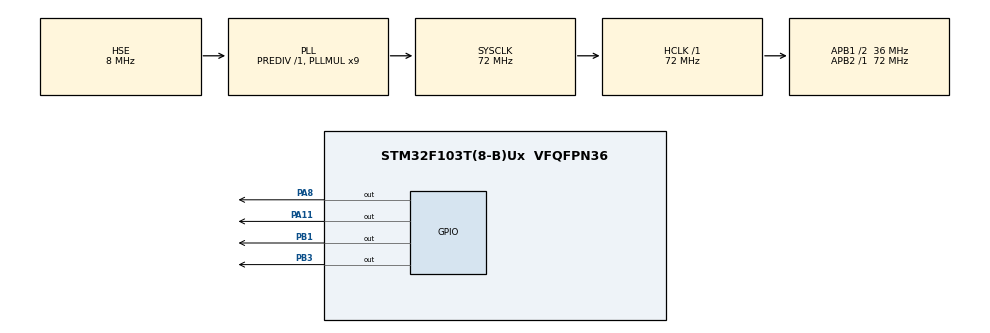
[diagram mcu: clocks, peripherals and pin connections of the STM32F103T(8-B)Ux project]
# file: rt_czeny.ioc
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FREERTOS.Tasks01=defaultTask,0,128,StartDefaultTask,Default
Mcu.Family=STM32F1
Mcu.Name=STM32F103T(8-B)Ux
Mcu.Package=VFQFPN36
NVIC.PriorityGroup=NVIC_PRIORITYGROUP_4
PA11.Signal=GPIO_Output
PA8.Signal=GPIO_Output
PB1.Signal=GPIO_Output
PB3.Signal=GPIO_Output
PD0-OSC_IN.Mode=HSE-External-Clock-Source
PD0-OSC_IN.Signal=RCC_OSC_IN
PD1-OSC_OUT.Mode=HSE-External-Clock-Source
PD1-OSC_OUT.Signal=RCC_OSC_OUT
ProjectManager.HeapSize=0x400
ProjectManager.StackSize=0x200
ProjectManager.TargetToolchain=MDK-ARM V5
RCC.AHBFreq_Value=72000000
RCC.APB1CLKDivider=RCC_HCLK_DIV2
RCC.APB1Freq_Value=36000000
RCC.APB1TimFreq_Value=72000000
RCC.APB2Freq_Value=72000000
RCC.APB2TimFreq_Value=72000000
RCC.HCLKFreq_Value=72000000
RCC.HSIState=RCC_HSI_ON
RCC.PLLMUL=RCC_PLL_MUL9
RCC.PLLSourceVirtual=RCC_PLLSOURCE_HSE
RCC.SYSCLKFreq_VALUE=72000000
RCC.SYSCLKSource=RCC_SYSCLKSOURCE_PLLCLK
RCC.USBFreq_Value=72000000
VP_FREERTOS_VS_ENABLE.Mode=Enabled
VP_SYS_VS_ND.Mode=No_Debug
board=rt_czeny

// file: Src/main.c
/**
  ******************************************************************************
  * File Name          : main.c
  * Description        : Main program body
  ******************************************************************************
  *
  * COPYRIGHT(c) 2016 STMicroelectronics
  *
  * Redistribution and use in source and binary forms, with or without modification,
  * are permitted provided that the following conditions are met:
  *   1. Redistributions of source code must retain the above copyright notice,
  *      this list of conditions and the following disclaimer.
  *   2. Redistributions in binary form must reproduce the above copyright notice,
  *      this list of conditions and the following disclaimer in the documentation
  *      and/or other materials provided with the distribution.
  *   3. Neither the name of STMicroelectronics nor the names of its contributors
  *      may be used to endorse or promote products derived from this software
  *      without specific prior written permission.
  *
  * THIS SOFTWARE IS PROVIDED BY THE COPYRIGHT HOLDERS AND CONTRIBUTORS "AS IS"
  * AND ANY EXPRESS OR IMPLIED WARRANTIES, INCLUDING, BUT NOT LIMITED TO, THE
  * IMPLIED WARRANTIES OF MERCHANTABILITY AND FITNESS FOR A PARTICULAR PURPOSE ARE
  * DISCLAIMED. IN NO EVENT SHALL THE COPYRIGHT HOLDER OR CONTRIBUTORS BE LIABLE
  * FOR ANY DIRECT, INDIRECT, INCIDENTAL, SPECIAL, EXEMPLARY, OR CONSEQUENTIAL
  * DAMAGES (INCLUDING, BUT NOT LIMITED TO, PROCUREMENT OF SUBSTITUTE GOODS OR
  * SERVICES; LOSS OF USE, DATA, OR PROFITS; OR BUSINESS INTERRUPTION) HOWEVER
  * CAUSED AND ON ANY THEORY OF LIABILITY, WHETHER IN CONTRACT, STRICT LIABILITY,
  * OR TORT (INCLUDING NEGLIGENCE OR OTHERWISE) ARISING IN ANY WAY OUT OF THE USE
  * OF THIS SOFTWARE, EVEN IF ADVISED OF THE POSSIBILITY OF SUCH DAMAGE.
  *
  ******************************************************************************
  */
#include "stm32f1xx_hal.h"
#include "cmsis_os.h"
#include "gpio.h"

/* USER CODE BEGIN PV */
/* Private variables ---------------------------------------------------------*/

/* USER CODE END PV */

void SystemClock_Config(void);
void MX_FREERTOS_Init(void);

/* USER CODE BEGIN PFP */
/* Private function prototypes -----------------------------------------------*/

/* USER CODE END PFP */

int main(void)
{

  /* MCU Configuration----------------------------------------------------------*/

  /* Reset of all peripherals, Initializes the Flash interface and the Systick. */
  HAL_Init();

  /* Configure the system clock */
  SystemClock_Config();

  /* Initialize all configured peripherals */
  MX_GPIO_Init();

  /* Call init function for freertos objects (in freertos.c) */
  MX_FREERTOS_Init();

  /* Start scheduler */
  osKernelStart();

  /* We should never get here as control is now taken by the scheduler */

  /* Infinite loop */
  while (1)
  {

  }

}

/** System Clock Configuration
*/
void SystemClock_Config(void)
{

  RCC_OscInitTypeDef RCC_OscInitStruct;
  RCC_ClkInitTypeDef RCC_ClkInitStruct;

  RCC_OscInitStruct.OscillatorType = RCC_OSCILLATORTYPE_HSE;
  RCC_OscInitStruct.HSEState = RCC_HSE_BYPASS;
  RCC_OscInitStruct.HSEPredivValue = RCC_HSE_PREDIV_DIV1;
  RCC_OscInitStruct.PLL.PLLState = RCC_PLL_ON;
  RCC_OscInitStruct.PLL.PLLSource = RCC_PLLSOURCE_HSE;
  RCC_OscInitStruct.PLL.PLLMUL = RCC_PLL_MUL9;
  HAL_RCC_OscConfig(&RCC_OscInitStruct);

  RCC_ClkInitStruct.ClockType = RCC_CLOCKTYPE_HCLK|RCC_CLOCKTYPE_SYSCLK
                              |RCC_CLOCKTYPE_PCLK1|RCC_CLOCKTYPE_PCLK2;
  RCC_ClkInitStruct.SYSCLKSource = RCC_SYSCLKSOURCE_PLLCLK;
  RCC_ClkInitStruct.AHBCLKDivider = RCC_SYSCLK_DIV1;
  RCC_ClkInitStruct.APB1CLKDivider = RCC_HCLK_DIV2;
  RCC_ClkInitStruct.APB2CLKDivider = RCC_HCLK_DIV1;
  HAL_RCC_ClockConfig(&RCC_ClkInitStruct, FLASH_LATENCY_2);

  HAL_SYSTICK_Config(HAL_RCC_GetHCLKFreq()/1000);

  HAL_SYSTICK_CLKSourceConfig(SYSTICK_CLKSOURCE_HCLK);

  /* SysTick_IRQn interrupt configuration */
  HAL_NVIC_SetPriority(SysTick_IRQn, 15, 0);
}

/************************ (C) COPYRIGHT STMicroelectronics *****END OF FILE****/

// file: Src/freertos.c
/**
  ******************************************************************************
  * File Name          : freertos.c
  * Description        : Code for freertos applications
  ******************************************************************************
  *
  * COPYRIGHT(c) 2016 STMicroelectronics
  *
  * Redistribution and use in source and binary forms, with or without modification,
  * are permitted provided that the following conditions are met:
  *   1. Redistributions of source code must retain the above copyright notice,
  *      this list of conditions and the following disclaimer.
  *   2. Redistributions in binary form must reproduce the above copyright notice,
  *      this list of conditions and the following disclaimer in the documentation
  *      and/or other materials provided with the distribution.
  *   3. Neither the name of STMicroelectronics nor the names of its contributors
  *      may be used to endorse or promote products derived from this software
  *      without specific prior written permission.
  *
  * THIS SOFTWARE IS PROVIDED BY THE COPYRIGHT HOLDERS AND CONTRIBUTORS "AS IS"
  * AND ANY EXPRESS OR IMPLIED WARRANTIES, INCLUDING, BUT NOT LIMITED TO, THE
  * IMPLIED WARRANTIES OF MERCHANTABILITY AND FITNESS FOR A PARTICULAR PURPOSE ARE
  * DISCLAIMED. IN NO EVENT SHALL THE COPYRIGHT HOLDER OR CONTRIBUTORS BE LIABLE
  * FOR ANY DIRECT, INDIRECT, INCIDENTAL, SPECIAL, EXEMPLARY, OR CONSEQUENTIAL
  * DAMAGES (INCLUDING, BUT NOT LIMITED TO, PROCUREMENT OF SUBSTITUTE GOODS OR
  * SERVICES; LOSS OF USE, DATA, OR PROFITS; OR BUSINESS INTERRUPTION) HOWEVER
  * CAUSED AND ON ANY THEORY OF LIABILITY, WHETHER IN CONTRACT, STRICT LIABILITY,
  * OR TORT (INCLUDING NEGLIGENCE OR OTHERWISE) ARISING IN ANY WAY OUT OF THE USE
  * OF THIS SOFTWARE, EVEN IF ADVISED OF THE POSSIBILITY OF SUCH DAMAGE.
  *
  ******************************************************************************
  */

#include "FreeRTOS.h"
#include "task.h"
#include "cmsis_os.h"

/* USER CODE BEGIN Includes */
#include "gpio.h"
/* USER CODE END Includes */

osThreadId defaultTaskHandle;

/* USER CODE BEGIN Variables */
osThreadId led1TaskHandle1;
osThreadId led1TaskHandle2;
osThreadId led1TaskHandle3;
osThreadId led1TaskHandle4;
/* USER CODE END Variables */

void StartDefaultTask(void const * argument);

void MX_FREERTOS_Init(void); /* (MISRA C 2004 rule 8.1) */

/* USER CODE BEGIN FunctionPrototypes */
void blinkLED1(void const * argument);
void blinkLED2(void const * argument);
void blinkLED3(void const * argument);
void blinkLED4(void const * argument);
/* USER CODE END FunctionPrototypes */

/* Hook prototypes */

/* Init FreeRTOS */

void MX_FREERTOS_Init(void) {

  /* Create the thread(s) */
  /* definition and creation of defaultTask */
  osThreadDef(defaultTask, StartDefaultTask, osPriorityNormal, 0, 128);
  defaultTaskHandle = osThreadCreate(osThread(defaultTask), NULL);

  /* USER CODE BEGIN RTOS_THREADS */
  /* add threads, ... */
	osThreadDef(LED_thread1, blinkLED1, osPriorityNormal, 0, configMINIMAL_STACK_SIZE);
	led1TaskHandle1 = osThreadCreate(osThread(LED_thread1),NULL);
	osThreadDef(LED_thread2, blinkLED2, osPriorityNormal, 0, configMINIMAL_STACK_SIZE);
	led1TaskHandle2 = osThreadCreate(osThread(LED_thread2),NULL);
	osThreadDef(LED_thread3, blinkLED3, osPriorityNormal, 0, configMINIMAL_STACK_SIZE);
	led1TaskHandle3 = osThreadCreate(osThread(LED_thread3),NULL);
	osThreadDef(LED_thread4, blinkLED4, osPriorityNormal, 0, configMINIMAL_STACK_SIZE*5);
	led1TaskHandle4 = osThreadCreate(osThread(LED_thread4),NULL);
  /* USER CODE END RTOS_THREADS */

}

/* StartDefaultTask function */
void StartDefaultTask(void const * argument)
{

  /* USER CODE BEGIN StartDefaultTask */

  /* Infinite loop */
  for(;;)
  {
		//HAL_GPIO_WritePin(GPIOA,GPIO_PIN_11,GPIO_PIN_SET);
    osDelay(1);
		//HAL_Delay(500);
		//HAL_GPIO_WritePin(GPIOA,GPIO_PIN_11,GPIO_PIN_RESET);
  }
  /* USER CODE END StartDefaultTask */
}

/* USER CODE BEGIN Application */
void blinkLED1(void const * argument)
{

	for(;;)
	{
		GPIOA->ODR ^= GPIO_PIN_11;
		osDelay(500);
	}
}

void blinkLED2(void const * argument)
{

	for(;;)
	{
		GPIOA->ODR ^= GPIO_PIN_8;
		osDelay(222);
	}
}

void blinkLED3(void const * argument)
{

	for(;;)
	{
		GPIOB->ODR ^= GPIO_PIN_1;
		osDelay(777);
	}
}

void blinkLED4(void const * argument)
{
	for(;;)
	{
		GPIOB->ODR ^= GPIO_PIN_3;
		osDelay(1000);
	}
}
/* USER CODE END Application */

/************************ (C) COPYRIGHT STMicroelectronics *****END OF FILE****/
